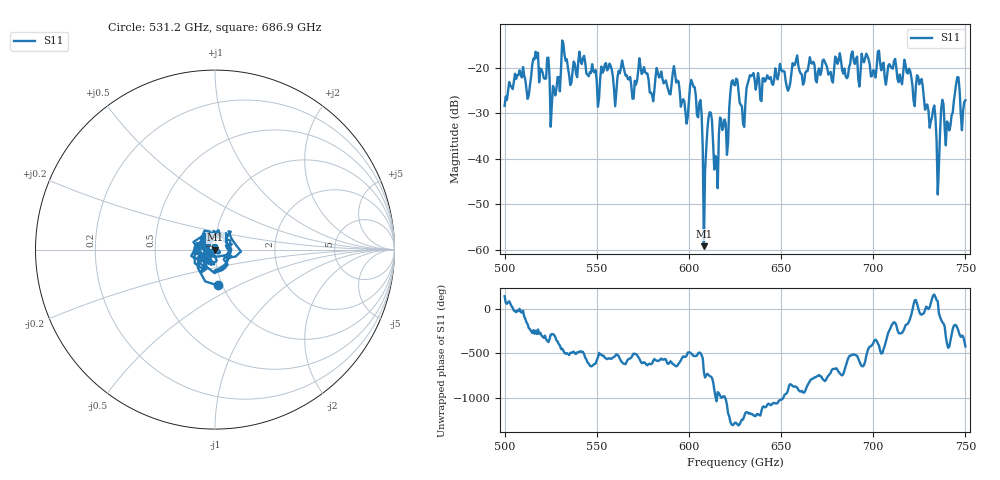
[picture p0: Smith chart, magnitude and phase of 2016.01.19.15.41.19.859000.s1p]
!Created with skrf (http://scikit-rf.org).
# GHz S RI R 50.0
!freq ReS11 ImS11
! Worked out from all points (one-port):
!   401 points, 500 GHz to 750 GHz, reference 50 ohm
!   lowest |S11| = -59.3 dB at 608.1 GHz (marker M1), VSWR 1.00, Z = 50.1 + j0.0204 ohm
!   |S11| at or under -10 dB: start of sweep to end of sweep
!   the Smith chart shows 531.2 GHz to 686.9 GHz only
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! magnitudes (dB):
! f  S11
! 500 GHz  -28.4
! 506.9 GHz  -21.6
! 513.1 GHz  -26.0
! 516.9 GHz  -16.4
! 526.2 GHz  -24.0
! 531.2 GHz  -14.0
! 550.6 GHz  -28.6
! 562.5 GHz  -21.2
! 580 GHz  -25.9
! 593.8 GHz  -22.8
! 598.8 GHz  -32.3
! 602.5 GHz  -24.2
! 606.2 GHz  -27.1
! 608.1 GHz  -59.3
! 611.2 GHz  -29.8
! 614.4 GHz  -39.4
! 625 GHz  -23.8
! 629.4 GHz  -32.3
! 633.8 GHz  -21.8
! 656.2 GHz  -19.0
! 687.5 GHz  -19.2
! 718.8 GHz  -21.2
! 732.5 GHz  -29.1
! 735 GHz  -47.9
! 737.5 GHz  -27.0
! 740.6 GHz  -32.2
! 745.6 GHz  -22.1
! 750 GHz  -27.2
